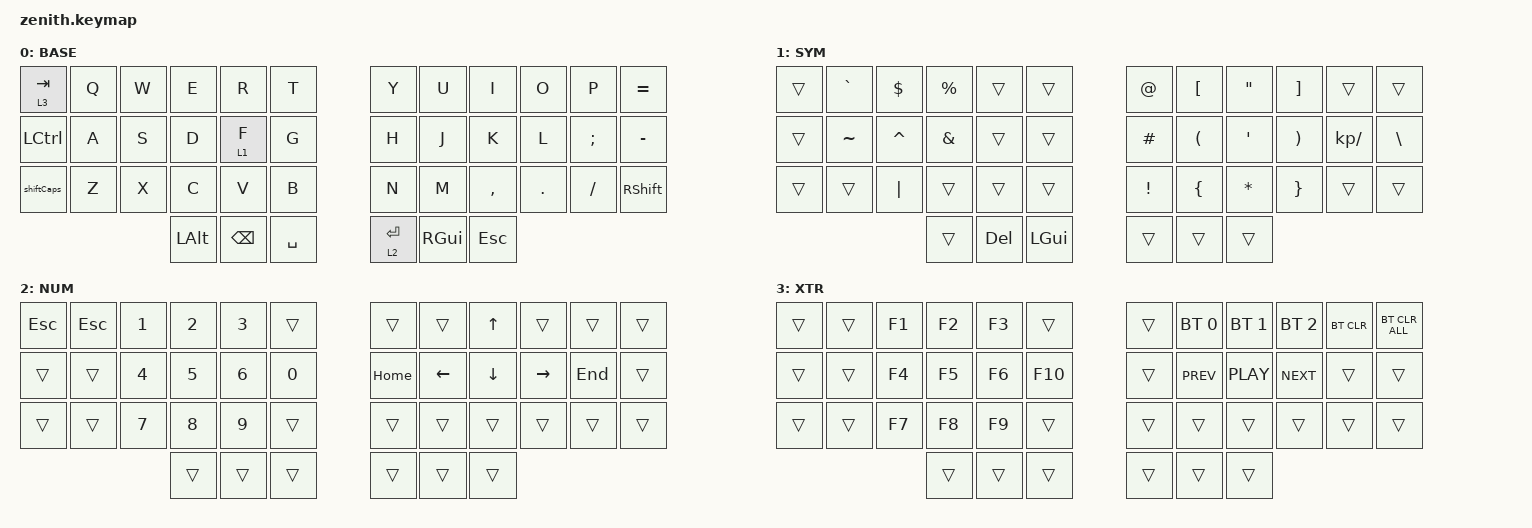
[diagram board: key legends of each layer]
#include <behaviors.dtsi>
#include <dt-bindings/zmk/keys.h>
#include <dt-bindings/zmk/bt.h>

/ {
    behaviors {
        shiftCaps: tap_dance_0 {
            compatible = "zmk,behavior-tap-dance";
            label = "TAP_DANCE_0";
            #binding-cells = <0>;
            tapping-term-ms = <200>;
            bindings = <&kp LSHFT>, <&kp CAPS>;
        };
    };

    keymap {
        compatible = "zmk,keymap";

// ┏━━━━━━━━━━━━━━━━━━━━━━━━━━━━━━━━━━━━━━━┓
// ┃                  BASE                 ┃
// ┗━━━━━━━━━━━━━━━━━━━━━━━━━━━━━━━━━━━━━━━┛

        default_layer {
            display-name = "BASE";
 bindings = <
&lt 3 TAB   &kp Q     &kp W     &kp E     &kp R     &kp T           &kp Y     &kp U     &kp I      &kp O     &kp P      &kp EQUAL
&kp LCTRL   &kp A     &kp S     &kp D     &lt 1 F   &kp G           &kp H     &kp J     &kp K      &kp L     &kp SEMI   &kp MINUS
&shiftCaps  &kp Z     &kp X     &kp C     &kp V     &kp B           &kp N     &kp M     &kp COMMA  &kp DOT   &kp FSLH   &kp RSHFT
                              &kp LALT  &kp BSPC  &kp SPACE       &lt 2 RET &kp RGUI  &kp ESC
            >;
        };

// ┏━━━━━━━━━━━━━━━━━━━━━━━━━━━━━━━━━━━━━━━┓
// ┃                  SYM                  ┃
// ┗━━━━━━━━━━━━━━━━━━━━━━━━━━━━━━━━━━━━━━━┛

        symbols_layer {
            display-name = "SYM";
 bindings = <

&trans   &kp GRAVE    &kp DOLLAR    &kp PRCNT    &trans    &trans           &kp AT_SIGN    &kp LBKT    &kp DOUBLE_QUOTES  &kp RBKT    &trans    &trans
&trans   &kp TILDE    &kp CARET     &kp AMPS     &trans    &trans           &kp HASH       &kp LPAR    &kp SINGLE_QUOTE   &kp RPAR    &kp KP_SLASH    &kp BACKSLASH
&trans   &trans       &kp PIPE      &trans       &trans    &trans           &kp EXCL       &kp LBRC    &kp STAR           &kp RBRC    &trans    &trans
                                    &trans       &kp DEL   &kp LGUI         &trans         &trans      &trans
            >;
        };

// ┏━━━━━━━━━━━━━━━━━━━━━━━━━━━━━━━━━━━━━━━┓
// ┃                  NUM                  ┃
// ┗━━━━━━━━━━━━━━━━━━━━━━━━━━━━━━━━━━━━━━━┛

        numbers_layer {
            display-name = "NUM";
 bindings = <
&kp ESC   &kp ESC   &kp N1    &kp N2    &kp N3       &trans          &trans     &trans     &kp UP    &trans    &trans    &trans
&trans    &trans    &kp N4    &kp N5    &kp N6       &kp N0          &kp HOME   &kp LEFT   &kp DOWN  &kp RIGHT &kp END   &trans
&trans    &trans    &kp N7    &kp N8    &kp N9       &trans          &trans     &trans     &trans    &trans    &trans    &trans
                              &trans    &trans       &trans          &trans     &trans     &trans
            >;
        };

// ┏━━━━━━━━━━━━━━━━━━━━━━━━━━━━━━━━━━━━━━━┓
// ┃                  XTR                  ┃
// ┗━━━━━━━━━━━━━━━━━━━━━━━━━━━━━━━━━━━━━━━┛

        extra_layer {
            display-name = "XTR";
 bindings = <

&trans   &trans     &kp F1    &kp F2    &kp F3    &trans           &trans    &bt BT_SEL 0   &bt BT_SEL 1   &bt BT_SEL 2   &bt BT_CLR    &bt BT_CLR_ALL
&trans   &trans     &kp F4    &kp F5    &kp F6    &kp F10          &trans    &kp C_PREV     &kp C_PLAY     &kp C_NEXT     &trans        &trans
&trans   &trans     &kp F7    &kp F8    &kp F9    &trans           &trans    &trans         &trans         &trans         &trans        &trans
                              &trans    &trans    &trans           &trans    &trans         &trans
            >;
        };

    };
};
